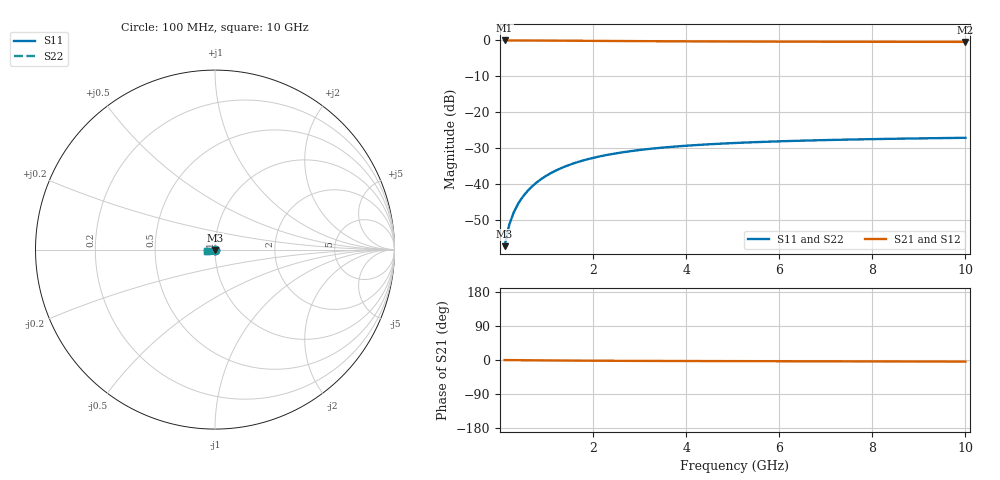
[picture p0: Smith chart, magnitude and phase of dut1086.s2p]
! Touchstone file exported from HFSS 2024.1.0
!  File:  C:/UserFiles/LocalFiles/RDL_TSV_Batchsim/temp_TSV1_1086_1780065931.aedt
!  Generated:  10:50:53 PM May 29, 2026
!  Design:  TSV1
!  Project:  temp_TSV1_1086_1780065931
!  Setup:  Setup1
!  Solution:  Sweep
! Variables:
!  dtsv = 14.51um
!  hbump = 3um
!  htsv = 61.44um
!  lrdl = 252.1521522um
!  p = 40
!  p1 = 56.14um
!  t = 500um
!  trdl = 3um
!  wrdl = 24.89489489um
# GHz S MA R 50.000000
! Terminal data exported
! Port[1] = TSV22_T1
! Port[2] = TSV22_T2
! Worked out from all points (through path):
!   100 points, 100 MHz to 10 GHz, reference 50 ohm
!   highest |S21| = 0.00 dB at 100 MHz (marker M1); lowest = -0.4 dB at 10 GHz (marker M2)
!   lowest |S11| = -57.2 dB at 100 MHz (marker M3), VSWR 1.00, Z = 50 - j0.138 ohm
!   |S11| at or under -10 dB: start of sweep to end of sweep
!   |S22| runs from -57.2 to -27.1 dB; largest |S21 - S12| = 7.6e-15
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0.1  0.001378 -91.3  0.9998 -0.1  0.9998 -0.1  0.001378 -91.3
! Gamma 0 0 0 0
! Port Impedance 50 0 50 0
0.2  0.002756 -93.4  0.9997 -0.2  0.9997 -0.2  0.002756 -93.4
0.3  0.004129 -95.4  0.9994 -0.4  0.9994 -0.4  0.004129 -95.4
0.4  0.005493 -97.4  0.9991 -0.5  0.9991 -0.5  0.005492 -97.4
0.5  0.00684 -99.3  0.9987 -0.6  0.9987 -0.6  0.00684 -99.3
0.6  0.008167 -101.2  0.9982 -0.7  0.9982 -0.7  0.008167 -101.2
0.7  0.009469 -103.1  0.9976 -0.8  0.9976 -0.8  0.009469 -103.1
0.8  0.01074 -105.0  0.997 -0.9  0.997 -0.9  0.01074 -105.0
0.9  0.01199 -106.8  0.9963 -1.0  0.9963 -1.0  0.01199 -106.8
1.1  0.01437 -110.4  0.9948 -1.2  0.9948 -1.2  0.01437 -110.4
1.4  0.01768 -115.4  0.9922 -1.5  0.9922 -1.5  0.01767 -115.4
1.6  0.01969 -118.5  0.9904 -1.6  0.9904 -1.6  0.01969 -118.5
1.8  0.02155 -121.5  0.9886 -1.8  0.9886 -1.8  0.02155 -121.5
2.1  0.02407 -125.6  0.9858 -1.9  0.9858 -1.9  0.02407 -125.6
2.5  0.02696 -130.6  0.9824 -2.1  0.9824 -2.1  0.02696 -130.6
2.9  0.0294 -135.0  0.9791 -2.3  0.9791 -2.3  0.0294 -135.0
3.4  0.03192 -139.8  0.9755 -2.5  0.9755 -2.5  0.03192 -139.8
4.2  0.03504 -146.2  0.9707 -2.8  0.9707 -2.8  0.03504 -146.3
5.1  0.03762 -152.1  0.9666 -3.0  0.9666 -3.0  0.03762 -152.2
6.7  0.04073 -160.3  0.9613 -3.4  0.9613 -3.4  0.04073 -160.3
8.4  0.04287 -167.0  0.9576 -3.8  0.9576 -3.8  0.04286 -167.0
10  0.04428 -172.2  0.9553 -4.2  0.9553 -4.2  0.04428 -172.2
